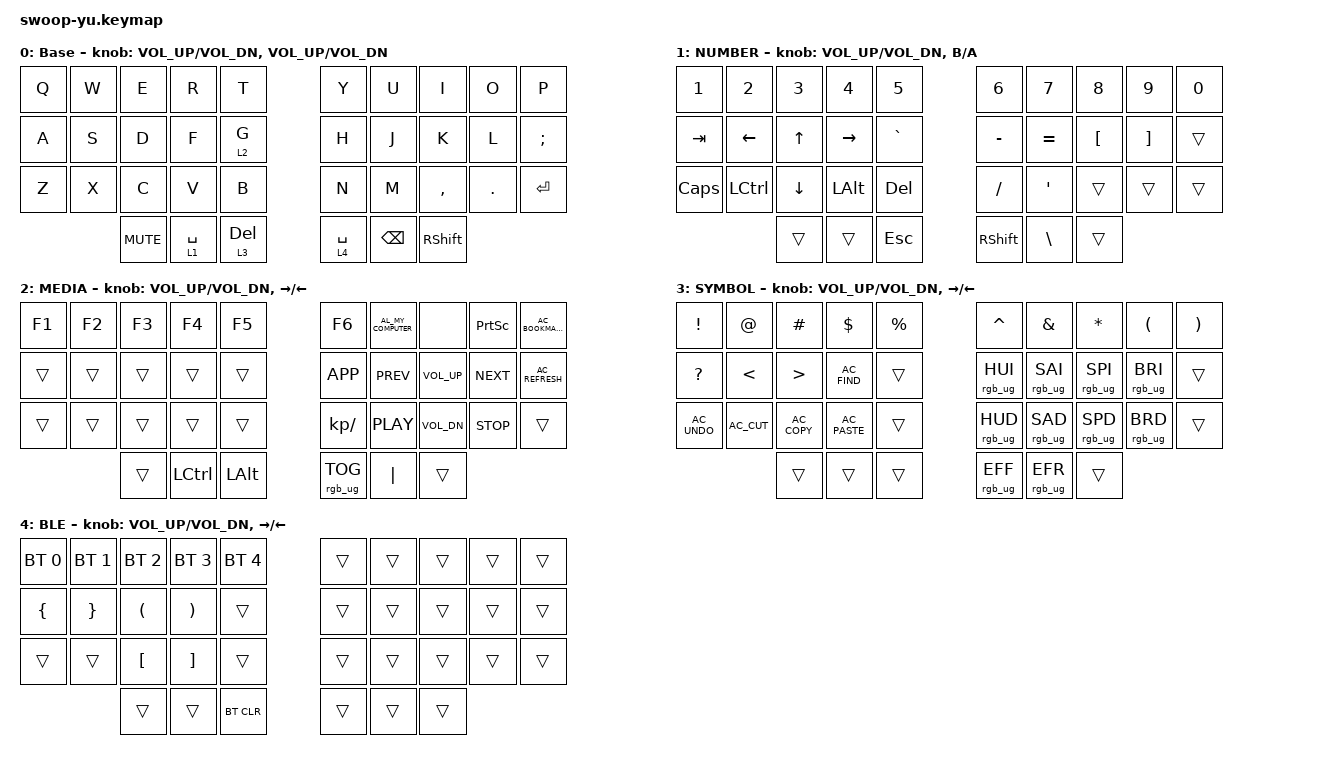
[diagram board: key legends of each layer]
/*
 * Copyright (c) 2020 duckyb
 *
 * SPDX-License-Identifier: MIT
 */

#include <behaviors.dtsi>
#include <dt-bindings/zmk/keys.h>
#include <dt-bindings/zmk/rgb.h>
#include <dt-bindings/zmk/bt.h>

/ {

    behaviors {
        gqt: global-quick-tap {
            compatible = "zmk,behavior-hold-tap";
            bindings =
                <&kp>,
                <&kp>;

            #binding-cells = <2>;
            quick-tap-ms = <180>;
            tapping-term-ms = <200>;
            global-quick-tap;
        };
        ltq: ltq {
            compatible = "zmk,behavior-hold-tap";
            bindings =
                <&mo>,
                <&kp>;

            #binding-cells = <2>;
            global-quick-tap;
            tapping-term-ms = <200>;
            quick-tap-ms = <180>;
        };
    };


    keymap {
        compatible = "zmk,keymap";

        base {
            display-name = "Base";
            bindings = <
&kp Q  &kp W       &kp E        &kp R      &kp T          &kp Y          &kp U       &kp I    &kp O      &kp P
&kp A  &kp S       &kp D        &kp F    &ltq 2 G          &kp H          &kp J       &kp K    &kp L   &kp SEMI
&kp Z  &kp X       &kp C        &kp V      &kp B          &kp N          &kp M   &kp COMMA  &kp DOT  &kp ENTER
              &kp C_MUTE  &ltq 1 SPACE  &ltq 3 DEL    &ltq 4 SPACE  &kp BACKSPACE  &kp RSHIFT
            >;

            sensor-bindings = <&inc_dec_kp C_VOL_UP C_VOL_DN &inc_dec_kp C_VOL_UP C_VOL_DN>;
        };

        number {
            display-name = "NUMBER";
            bindings = <
&kp NUMBER_1  &kp NUMBER_2  &kp NUMBER_3  &kp NUMBER_4  &kp NUMBER_5       &kp NUMBER_6      &kp NUMBER_7      &kp NUMBER_8       &kp NUMBER_9  &kp NUMBER_0
     &kp TAB      &kp LEFT        &kp UP     &kp RIGHT     &kp GRAVE          &kp MINUS         &kp EQUAL  &kp LEFT_BRACKET  &kp RIGHT_BRACKET        &trans
    &kp CAPS     &kp LCTRL      &kp DOWN  &kp LEFT_ALT       &kp DEL          &kp SLASH  &kp SINGLE_QUOTE            &trans             &trans        &trans
                                  &trans        &trans       &kp ESC    &kp RIGHT_SHIFT     &kp BACKSLASH            &trans
            >;

            sensor-bindings = <&inc_dec_kp C_VOL_UP C_VOL_DN &inc_dec_kp B A>;
        };

        f_media {
            display-name = "MEDIA";
            bindings = <
&kp F1  &kp F2  &kp F3     &kp F4        &kp F5             &kp F6  &kp C_AL_MY_COMPUTER         &none   &kp PSCRN  &kp C_AC_BOOKMARKS
&trans  &trans  &trans     &trans        &trans          &kp K_APP            &kp C_PREV  &kp C_VOL_UP  &kp C_NEXT    &kp C_AC_REFRESH
&trans  &trans  &trans     &trans        &trans      &kp KP_DIVIDE            &kp C_PLAY  &kp C_VOL_DN  &kp C_STOP              &trans
                &trans  &kp LCTRL  &kp LEFT_ALT    &rgb_ug RGB_TOG              &kp PIPE        &trans
            >;

            sensor-bindings = <&inc_dec_kp C_VOL_UP C_VOL_DN &inc_dec_kp RIGHT LEFT>;
        };

        symbol {
            display-name = "SYMBOL";
            bindings = <
     &kp EXCL         &kp AT          &kp HASH      &kp DOLLAR  &kp PERCENT          &kp CARET         &kp AMPS         &kp STAR  &kp LEFT_PARENTHESIS  &kp RIGHT_PARENTHESIS
 &kp QUESTION  &kp LESS_THAN  &kp GREATER_THAN   &kp C_AC_FIND       &trans    &rgb_ug RGB_HUI  &rgb_ug RGB_SAI  &rgb_ug RGB_SPI       &rgb_ug RGB_BRI                 &trans
&kp C_AC_UNDO   &kp C_AC_CUT     &kp C_AC_COPY  &kp C_AC_PASTE       &trans    &rgb_ug RGB_HUD  &rgb_ug RGB_SAD  &rgb_ug RGB_SPD       &rgb_ug RGB_BRD                 &trans
                                        &trans          &trans       &trans    &rgb_ug RGB_EFF  &rgb_ug RGB_EFR           &trans
            >;

            sensor-bindings = <&inc_dec_kp C_VOL_UP C_VOL_DN &inc_dec_kp RIGHT LEFT>;
        };

        ble {
            display-name = "BLE";
            bindings = <
  &bt BT_SEL 0     &bt BT_SEL 1          &bt BT_SEL 2           &bt BT_SEL 3  &bt BT_SEL 4    &trans  &trans  &trans  &trans  &trans
&kp LEFT_BRACE  &kp RIGHT_BRACE  &kp LEFT_PARENTHESIS  &kp RIGHT_PARENTHESIS        &trans    &trans  &trans  &trans  &trans  &trans
        &trans           &trans      &kp LEFT_BRACKET      &kp RIGHT_BRACKET        &trans    &trans  &trans  &trans  &trans  &trans
                                               &trans                 &trans    &bt BT_CLR    &trans  &trans  &trans
            >;

            sensor-bindings = <&inc_dec_kp C_VOL_UP C_VOL_DN &inc_dec_kp RIGHT LEFT>;
        };
    };
};
